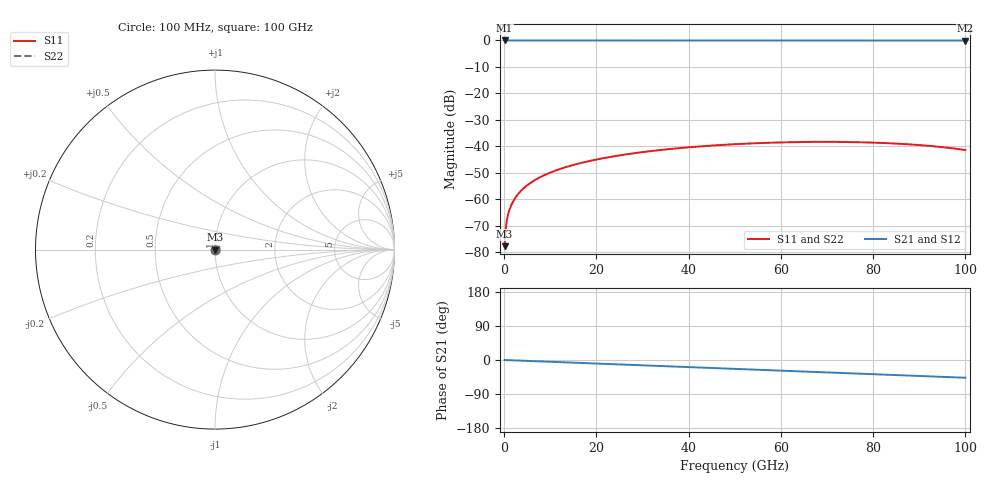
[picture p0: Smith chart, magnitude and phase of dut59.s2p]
! Touchstone file exported from HFSS 2026.1.0
!  File:  C:/ffzhzh/LocalFiles/Ansys_Project_Files/temp_train_TSV_59_1783505086_31944.aedt
!  Generated:  06:05:55 PM Jul  8, 2026
!  Design:  TSV
!  Project:  temp_train_TSV_59_1783505086_31944
! Variables:
!  h_bsmrdl = 2um
!  h_ox = 20um
!  h_rdl = 5um
!  h_sub = 94.2um
!  h_tmrdl = 5um
!  h_tsv = 94.2um
!  h_via = 3um
!  l_bsmrdl = 300um
!  l_sub = 424.26um
!  l_tmrdl = 200um
!  m_sub = 200um
!  pitch = 50.78um
!  r_tsv = 12.13um
!  s_tmrdl = 10um
!  w_bsmrdl = 18um
!  w_sub = 500um
!  w_tmrdl = 12um
!  x_tsv_center1 = 206um
!  x_tsv_center2 = 524um
!  x_tsv_center3 = 736um
!  x_tsv_center4 = 1054um
!  x_tsv_center5 = 1266um
!  x_tsv_center6 = 1584um
# GHz S MA R 50.000000
! Terminal data exported
! Port[1] = TSV1_1_T1
! Port[2] = TSV1_1_T2
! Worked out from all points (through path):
!   1000 points, 100 MHz to 100 GHz, reference 50 ohm
!   highest |S21| = 0.00 dB at 100 MHz (marker M1); lowest = 0.0 dB at 100 GHz (marker M2)
!   group delay of S21, straight-line fit = 1.3 ps
!   lowest |S11| = -77.7 dB at 100 MHz (marker M3), VSWR 1.00, Z = 50 + j0.00749 ohm
!   |S11| at or under -10 dB: start of sweep to end of sweep
!   |S22| runs from -77.7 to -38.3 dB; largest |S21 - S12| = 8.1e-15
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0.1  0.0001305 35.0  0.9999 -0.0  0.9999 -0.0  0.0001305 35.0
! Gamma 0 0 0 0
! Port Impedance 50 0 50 0
0.4  0.0003118 57.0  0.9998 -0.2  0.9998 -0.2  0.0003118 57.0
0.8  0.0004994 59.1  0.9997 -0.4  0.9997 -0.4  0.0004994 59.1
1  0.0005769 60.0  0.9997 -0.5  0.9997 -0.5  0.0005769 60.0
1.3  0.0006861 61.3  0.9997 -0.6  0.9997 -0.6  0.0006861 61.4
1.8  0.0008601 63.2  0.9996 -0.9  0.9996 -0.9  0.0008601 63.2
2.4  0.00106 64.7  0.9996 -1.1  0.9996 -1.1  0.00106 64.7
3.1  0.001283 65.8  0.9995 -1.5  0.9995 -1.5  0.001283 65.8
3.9  0.001524 66.7  0.9994 -1.8  0.9994 -1.8  0.001524 66.7
6.1  0.002151 68.2  0.9993 -2.9  0.9993 -2.9  0.002151 68.2
9  0.002936 69.0  0.9991 -4.2  0.9991 -4.2  0.002936 69.0
12.5  0.003836 68.9  0.999 -5.9  0.999 -5.9  0.003835 68.9
16.8  0.00489 68.3  0.9988 -7.9  0.9988 -7.9  0.00489 68.3
24.3  0.006606 66.4  0.9986 -11.4  0.9986 -11.4  0.006605 66.4
33.4  0.008452 63.2  0.9983 -15.6  0.9983 -15.6  0.008451 63.3
41.4  0.009827 60.1  0.9981 -19.3  0.9981 -19.3  0.009824 60.2
50.1  0.01101 56.4  0.9979 -23.4  0.9979 -23.4  0.011 56.5
66.7  0.01215 48.5  0.9975 -31.1  0.9975 -31.1  0.01214 48.7
75.3  0.01205 44.1  0.9973 -35.2  0.9973 -35.2  0.01204 44.3
83.4  0.01146 39.5  0.9971 -39.0  0.9971 -39.0  0.01145 39.8
92.1  0.01023 34.1  0.9969 -43.1  0.9969 -43.1  0.01022 34.5
100  0.008529 28.2  0.9967 -46.8  0.9967 -46.8  0.008511 28.7
